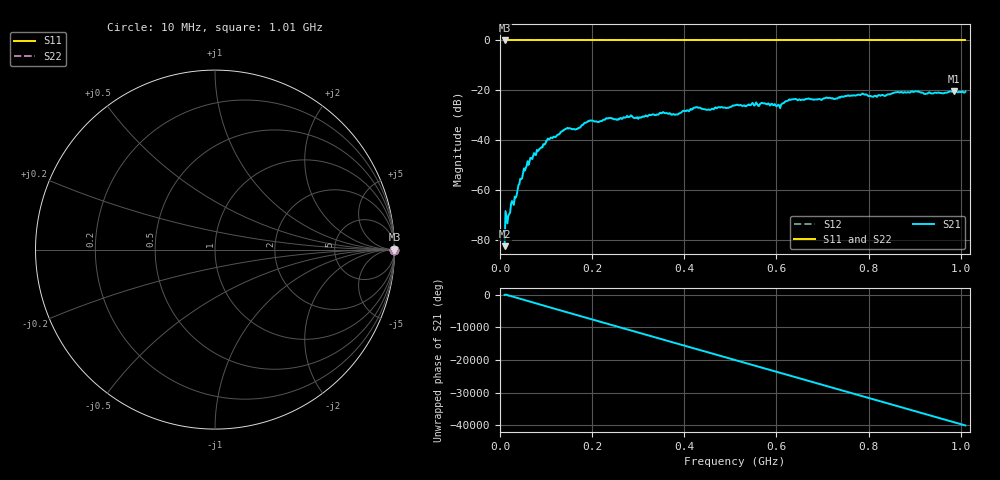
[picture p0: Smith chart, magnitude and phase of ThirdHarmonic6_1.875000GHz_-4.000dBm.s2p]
! 8/16/2025 10:39:22 PM
! C:\ANRITSUVNA\TEMP\TEMP.S2P
! CHANNEL.1
! TR.MEASUREMENT
! RAW.DATA
! RF.CORRECTION.OFF
! AVERAGING.OFF
! IF.BANDWIDTH: 5KHZ
! SWEEPTYPE:  FREQ.SWEEP(Linear)
! Reference Plane Port Info
! PORT:  PORT1  PORT2
! DISTANCE:  0  m  0  m
! TIME:  0  s  0  s
! PHASE.OFFSET:  0  deg.  0  deg.
! LOSS:  0  dB  0  dB
! REF.LOSS:  0  dB  0  dB
! REF.FREQ:  0  Hz  0  Hz
! Power Info
! POWER:  -20  dBm  -20  dBm
! EFF.POWER:  -20  dBm  -20  dBm
! SOURCE.ATTEN:  0  dB  0  dB
! TEST.ATTEN:  0  dB  0  dB
# GHZ S RI R 50.0
! FREQ.GHZ  S11RE  S11IM  S21RE  S21IM  S12RE  S12IM  S22RE  S22IM
!; PortSelection: Port_12
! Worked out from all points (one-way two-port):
!   501 points, 10 MHz to 1.01 GHz, reference 50 ohm
!   highest |S21| = -20.28 dB at 986 MHz (marker M1); lowest = -82.4 dB at 10 MHz (marker M2)
!   lowest |S11| = 0.0 dB at 10 MHz (marker M3)
!   |S11| at or under -10 dB: nowhere
!   |S22| runs from 0.0 to 0.0 dB; largest |S21 - S12| = 1.1
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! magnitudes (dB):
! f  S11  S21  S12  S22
! 10 MHz  0.0  -82.4  0.0  0.0
! 16 MHz  0.0  -73.2  0.0  0.0
! 18 MHz  0.0  -70.2  0.0  0.0
! 34 MHz  0.0  -62.9  0.0  0.0
! 48 MHz  0.0  -55.1  0.0  0.0
! 70 MHz  0.0  -47.5  0.0  0.0
! 106 MHz  0.0  -39.7  0.0  0.0
! 142 MHz  0.0  -35.5  0.0  0.0
! 178 MHz  0.0  -33.9  0.0  0.0
! 196 MHz  0.0  -32.0  0.0  0.0
! 344 MHz  0.0  -29.7  0.0  0.0
! 382 MHz  0.0  -29.6  0.0  0.0
! 424 MHz  0.0  -26.9  0.0  0.0
! 452 MHz  0.0  -27.7  0.0  0.0
! 510 MHz  0.0  -26.0  0.0  0.0
! 570 MHz  0.0  -25.1  0.0  0.0
! 604 MHz  0.0  -25.7  0.0  0.0
! 630 MHz  0.0  -23.8  0.0  0.0
! 678 MHz  0.0  -23.6  0.0  0.0
! 844 MHz  0.0  -21.5  0.0  0.0
! 986 MHz  0.0  -20.3  0.0  0.0
! 1.01 GHz  0.0  -20.5  0.0  0.0
